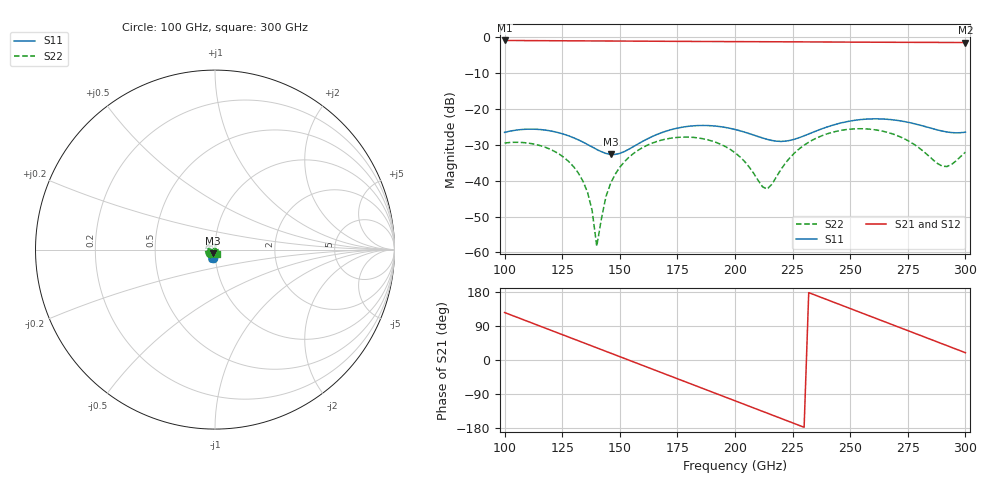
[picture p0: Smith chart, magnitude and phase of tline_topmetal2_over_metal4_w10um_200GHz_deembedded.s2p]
! Created with skrf 2.0.1 (http://scikit-rf.org).
# GHz S DB R 50.0
!freq dBS11 angS11 dBS21 angS21 dBS12 angS12 dBS22 angS22
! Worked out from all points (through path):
!   101 points, 100 GHz to 300 GHz, reference 50 ohm
!   highest |S21| = -0.88 dB at 100 GHz (marker M1); lowest = -1.5 dB at 300 GHz (marker M2)
!   group delay of S21, straight-line fit = 6.47 ps
!   lowest |S11| = -32.7 dB at 146 GHz (marker M3), VSWR 1.05, Z = 48.8 - j1.93 ohm
!   |S11| at or under -10 dB: start of sweep to end of sweep
!   |S22| runs from -58.3 to -25.5 dB; largest |S21 - S12| = 1e-14
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100  -26.51 -102.0  -0.88 125.3  -0.88 125.3  -29.49 -139.9
110  -25.62 -117.7  -0.92 102.0  -0.92 102.0  -29.48 -164.4
120  -26.12 -132.2  -0.96 78.7  -0.96 78.7  -31.28 170.8
128  -27.53 -140.7  -0.98 60.1  -0.98 60.1  -34.75 151.5
134  -29.22 -142.9  -1.00 46.1  -1.00 46.1  -40.11 139.1
138  -30.59 -140.6  -1.01 36.8  -1.01 36.8  -48.35 139.3
140  -31.28 -137.8  -1.02 32.1  -1.02 32.1  -58.25 -176.4
144  -32.39 -128.2  -1.03 22.8  -1.03 22.8  -44.40 -84.0
146  -32.66 -121.8  -1.04 18.1  -1.04 18.1  -40.74 -85.4
154  -31.19 -98.4  -1.06 -0.5  -1.06 -0.5  -33.44 -102.3
168  -26.63 -94.9  -1.11 -33.1  -1.11 -33.1  -28.69 -137.8
184  -24.61 -111.5  -1.16 -70.4  -1.16 -70.4  -28.07 179.1
200  -25.70 -126.3  -1.21 -107.6  -1.21 -107.6  -32.19 129.6
214  -28.47 -121.8  -1.24 -140.2  -1.24 -140.2  -42.30 14.8
224  -28.74 -102.6  -1.27 -163.6  -1.27 -163.6  -33.46 -75.0
234  -26.44 -91.5  -1.30 173.1  -1.30 173.1  -28.54 -111.3
252  -23.15 -100.4  -1.35 131.1  -1.35 131.1  -25.53 -165.1
268  -22.98 -115.5  -1.39 93.9  -1.39 93.9  -26.86 145.9
278  -24.13 -121.3  -1.41 70.6  -1.41 70.6  -29.98 108.8
290  -26.16 -116.4  -1.44 42.6  -1.44 42.6  -35.95 25.7
294  -26.57 -110.9  -1.44 33.3  -1.44 33.3  -35.46 -17.0
300  -26.46 -101.0  -1.46 19.2  -1.46 19.2  -32.03 -63.3
